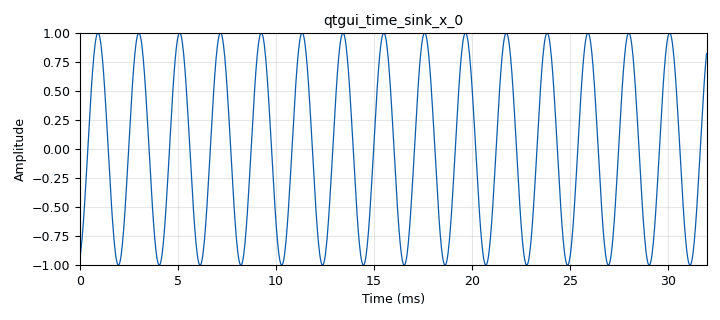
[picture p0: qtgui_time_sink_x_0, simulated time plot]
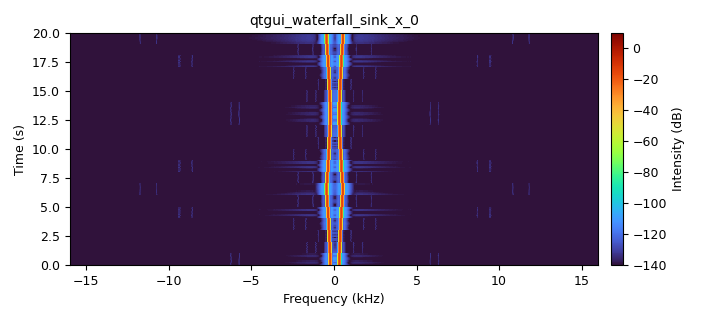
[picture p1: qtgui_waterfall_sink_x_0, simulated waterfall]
options:
  parameters:
    author: Priyanshi
    generate_options: qt_gui
    id: sa
    output_language: python
    title: Not titled yet
  states: {}

blocks:
- name: samp_rate
  id: variable
  parameters:
    value: '32000'
  states: {}
- name: audio_sink_0
  id: audio_sink
  parameters:
    samp_rate: samp_rate
  states: {}
- name: blocks_repeat_0
  id: blocks_repeat
  parameters:
    interp: '32000'
    type: float
  states: {}
- name: blocks_throttle_0
  id: blocks_throttle
  parameters:
    samples_per_second: samp_rate
    type: float
  states: {state: bypassed}
- name: blocks_vco_f_0
  id: blocks_vco_f
  parameters:
    amplitude: '1'
    samp_rate: '32000'
    sensitivity: '6.28'
  states: {}
- name: blocks_vector_source_x_0
  id: blocks_vector_source_x
  parameters:
    repeat: 'True'
    type: float
    vector: (256, 280, 312, 346, 384, 436, 480, 436, 384, 346, 312, 280, 256)
  states: {}
- name: qtgui_time_sink_x_0
  id: qtgui_time_sink_x
  parameters:
    size: '1024'
    srate: samp_rate
    type: float
  states: {}
- name: qtgui_waterfall_sink_x_0
  id: qtgui_waterfall_sink_x
  parameters:
    bw: samp_rate
    fc: '0'
    fftsize: '1024'
    type: float
    wintype: firdes.WIN_BLACKMAN_hARRIS
  states: {}

connections:
- [blocks_repeat_0, '0', blocks_vco_f_0, '0']
- [blocks_throttle_0, '0', qtgui_time_sink_x_0, '0']
- [blocks_vco_f_0, '0', audio_sink_0, '0']
- [blocks_vco_f_0, '0', blocks_throttle_0, '0']
- [blocks_vco_f_0, '0', qtgui_waterfall_sink_x_0, '0']
- [blocks_vector_source_x_0, '0', blocks_repeat_0, '0']

metadata:
  file_format: 1
